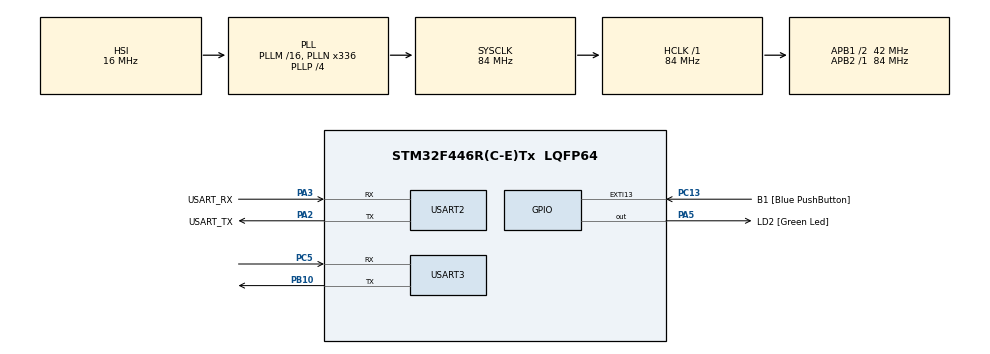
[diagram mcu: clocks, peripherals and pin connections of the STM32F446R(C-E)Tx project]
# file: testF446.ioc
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Mcu.Family=STM32F4
Mcu.Name=STM32F446R(C-E)Tx
Mcu.Package=LQFP64
NVIC.PriorityGroup=NVIC_PRIORITYGROUP_0
NVIC.TIM6_DAC_IRQn=true\:0\:0\:false\:false\:true\:true\:true\:true
NVIC.USART3_IRQn=true\:0\:0\:false\:false\:true\:true\:true\:true
PA13.GPIO_Label=TMS
PA13.Mode=Serial_Wire
PA13.Signal=SYS_JTMS-SWDIO
PA14.GPIO_Label=TCK
PA14.Mode=Serial_Wire
PA14.Signal=SYS_JTCK-SWCLK
PA2.GPIO_Label=USART_TX
PA2.Mode=Asynchronous
PA2.Signal=USART2_TX
PA3.GPIO_Label=USART_RX
PA3.Mode=Asynchronous
PA3.Signal=USART2_RX
PA5.GPIO_Label=LD2 [Green Led]
PA5.Signal=GPIO_Output
PB10.Mode=Asynchronous
PB10.Signal=USART3_TX
PB3.GPIO_Label=SWO
PB3.Signal=SYS_JTDO-SWO
PC13.GPIO_Label=B1 [Blue PushButton]
PC13.GPIO_ModeDefaultEXTI=GPIO_MODE_IT_FALLING
PC13.Signal=GPXTI13
PC14-OSC32_IN.Mode=LSE-External-Oscillator
PC14-OSC32_IN.Signal=RCC_OSC32_IN
PC15-OSC32_OUT.Mode=LSE-External-Oscillator
PC15-OSC32_OUT.Signal=RCC_OSC32_OUT
PC5.Mode=Asynchronous
PC5.Signal=USART3_RX
PH0-OSC_IN.Mode=HSE-External-Oscillator
PH0-OSC_IN.Signal=RCC_OSC_IN
PH1-OSC_OUT.Mode=HSE-External-Oscillator
PH1-OSC_OUT.Signal=RCC_OSC_OUT
ProjectManager.HeapSize=0x200
ProjectManager.StackSize=0x400
ProjectManager.TargetToolchain=STM32CubeIDE
RCC.48MHZClocksFreq_Value=84000000
RCC.AHBFreq_Value=84000000
RCC.APB1CLKDivider=RCC_HCLK_DIV2
RCC.APB1Freq_Value=42000000
RCC.APB1TimFreq_Value=84000000
RCC.APB2Freq_Value=84000000
RCC.APB2TimFreq_Value=84000000
RCC.CortexFreq_Value=84000000
RCC.FLatency-AdvancedSettings=FLASH_LATENCY_2
RCC.HCLKFreq_Value=84000000
RCC.HSE_VALUE=8000000
RCC.HSI_VALUE=16000000
RCC.PLLN=336
RCC.PLLP=RCC_PLLP_DIV4
RCC.SYSCLKFreq_VALUE=84000000
RCC.SYSCLKSource=RCC_SYSCLKSOURCE_PLLCLK
RCC.USBFreq_Value=168000000
RCC.VCOOutputFreq_Value=336000000
TIM6.AutoReloadPreload=TIM_AUTORELOAD_PRELOAD_DISABLE
TIM6.Period=2000-1
TIM6.Prescaler=42000-1
TIM6.TIM_MasterOutputTrigger=TIM_TRGO_RESET
USART2.VirtualMode=VM_ASYNC
USART3.VirtualMode=VM_ASYNC
VP_TIM6_VS_ClockSourceINT.Mode=Enable_Timer
board=NUCLEO-F446RE

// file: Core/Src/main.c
/* USER CODE BEGIN Header */
/**
  ******************************************************************************
  * @file           : main.c
  * @brief          : Main program body
  ******************************************************************************
  * @attention
  *
  * Copyright (c) 2025 STMicroelectronics.
  * All rights reserved.
  *
  * This software is licensed under terms that can be found in the LICENSE file
  * in the root directory of this software component.
  * If no LICENSE file comes with this software, it is provided AS-IS.
  *
  ******************************************************************************
  */
/* USER CODE END Header */
#include "main.h"

/* USER CODE BEGIN Includes */
#include "stm32f4xx_it.h"

#include "uart.h"

/* USER CODE END Includes */

TIM_HandleTypeDef htim6;

UART_HandleTypeDef huart2;
UART_HandleTypeDef huart3;

void SystemClock_Config(void);
static void MX_GPIO_Init(void);
static void MX_USART2_UART_Init(void);
static void MX_TIM6_Init(void);
static void MX_USART3_UART_Init(void);

/* USER CODE BEGIN 0 */
static void led_toggle()
{
  HAL_GPIO_TogglePin(LD2_GPIO_Port,LD2_Pin);
}

/* USER CODE END 0 */

int main(void)
{

  /* MCU Configuration--------------------------------------------------------*/

  /* Reset of all peripherals, Initializes the Flash interface and the Systick. */
  HAL_Init();

  /* Configure the system clock */
  SystemClock_Config();

  /* Initialize all configured peripherals */
  MX_GPIO_Init();
  MX_USART2_UART_Init();
  MX_TIM6_Init();
  MX_USART3_UART_Init();
  /* USER CODE BEGIN 2 */

  const int rcv_buff_size = 16;
  uint8_t rcv_buff[rcv_buff_size];

  uart_init(&huart3);  // UART3の初期化
  uart_receive_start();  // 受信開始

  /* USER CODE END 2 */

  /* Infinite loop */
  while (1)
  {

    /* USER CODE BEGIN 3 */
    if (isTimHit()) {  // 定間隔処理
      led_toggle();  // LEDをトグル

      //uart_transimit_nonblocking((uint8_t *)"#", 1);  // Beacon 送信

    }

    if (uart_is_received()) {  // UART受信チェック
      // 受信データを取得して送信
      uint16_t size;
      size = uart_get_receive_data(rcv_buff, rcv_buff_size);
      uart_transmit_nonblocking(rcv_buff, size);
    }

  }
  /* USER CODE END 3 */
}

void SystemClock_Config(void)
{
  RCC_OscInitTypeDef RCC_OscInitStruct = {0};
  RCC_ClkInitTypeDef RCC_ClkInitStruct = {0};

  /** Configure the main internal regulator output voltage
  */
  __HAL_RCC_PWR_CLK_ENABLE();
  __HAL_PWR_VOLTAGESCALING_CONFIG(PWR_REGULATOR_VOLTAGE_SCALE3);

  /** Initializes the RCC Oscillators according to the specified parameters
  * in the RCC_OscInitTypeDef structure.
  */
  RCC_OscInitStruct.OscillatorType = RCC_OSCILLATORTYPE_HSI;
  RCC_OscInitStruct.HSIState = RCC_HSI_ON;
  RCC_OscInitStruct.HSICalibrationValue = RCC_HSICALIBRATION_DEFAULT;
  RCC_OscInitStruct.PLL.PLLState = RCC_PLL_ON;
  RCC_OscInitStruct.PLL.PLLSource = RCC_PLLSOURCE_HSI;
  RCC_OscInitStruct.PLL.PLLM = 16;
  RCC_OscInitStruct.PLL.PLLN = 336;
  RCC_OscInitStruct.PLL.PLLP = RCC_PLLP_DIV4;
  RCC_OscInitStruct.PLL.PLLQ = 2;
  RCC_OscInitStruct.PLL.PLLR = 2;
  if (HAL_RCC_OscConfig(&RCC_OscInitStruct) != HAL_OK)
  {
    Error_Handler();
  }

  /** Initializes the CPU, AHB and APB buses clocks
  */
  RCC_ClkInitStruct.ClockType = RCC_CLOCKTYPE_HCLK|RCC_CLOCKTYPE_SYSCLK
                              |RCC_CLOCKTYPE_PCLK1|RCC_CLOCKTYPE_PCLK2;
  RCC_ClkInitStruct.SYSCLKSource = RCC_SYSCLKSOURCE_PLLCLK;
  RCC_ClkInitStruct.AHBCLKDivider = RCC_SYSCLK_DIV1;
  RCC_ClkInitStruct.APB1CLKDivider = RCC_HCLK_DIV2;
  RCC_ClkInitStruct.APB2CLKDivider = RCC_HCLK_DIV1;

  if (HAL_RCC_ClockConfig(&RCC_ClkInitStruct, FLASH_LATENCY_2) != HAL_OK)
  {
    Error_Handler();
  }
}

static void MX_TIM6_Init(void)
{

  TIM_MasterConfigTypeDef sMasterConfig = {0};

  htim6.Instance = TIM6;
  htim6.Init.Prescaler = 42000-1;
  htim6.Init.CounterMode = TIM_COUNTERMODE_UP;
  htim6.Init.Period = 2000-1;
  htim6.Init.AutoReloadPreload = TIM_AUTORELOAD_PRELOAD_DISABLE;
  if (HAL_TIM_Base_Init(&htim6) != HAL_OK)
  {
    Error_Handler();
  }
  sMasterConfig.MasterOutputTrigger = TIM_TRGO_RESET;
  sMasterConfig.MasterSlaveMode = TIM_MASTERSLAVEMODE_DISABLE;
  if (HAL_TIMEx_MasterConfigSynchronization(&htim6, &sMasterConfig) != HAL_OK)
  {
    Error_Handler();
  }
  /* USER CODE BEGIN TIM6_Init 2 */
  HAL_TIM_Base_Start_IT(&htim6);
  /* USER CODE END TIM6_Init 2 */

}

static void MX_USART2_UART_Init(void)
{

  huart2.Instance = USART2;
  huart2.Init.BaudRate = 115200;
  huart2.Init.WordLength = UART_WORDLENGTH_8B;
  huart2.Init.StopBits = UART_STOPBITS_1;
  huart2.Init.Parity = UART_PARITY_NONE;
  huart2.Init.Mode = UART_MODE_TX_RX;
  huart2.Init.HwFlowCtl = UART_HWCONTROL_NONE;
  huart2.Init.OverSampling = UART_OVERSAMPLING_16;
  if (HAL_UART_Init(&huart2) != HAL_OK)
  {
    Error_Handler();
  }

}

static void MX_USART3_UART_Init(void)
{

  huart3.Instance = USART3;
  huart3.Init.BaudRate = 115200;
  huart3.Init.WordLength = UART_WORDLENGTH_8B;
  huart3.Init.StopBits = UART_STOPBITS_1;
  huart3.Init.Parity = UART_PARITY_NONE;
  huart3.Init.Mode = UART_MODE_TX_RX;
  huart3.Init.HwFlowCtl = UART_HWCONTROL_NONE;
  huart3.Init.OverSampling = UART_OVERSAMPLING_16;
  if (HAL_UART_Init(&huart3) != HAL_OK)
  {
    Error_Handler();
  }

}

static void MX_GPIO_Init(void)
{
  GPIO_InitTypeDef GPIO_InitStruct = {0};

  /* GPIO Ports Clock Enable */
  __HAL_RCC_GPIOC_CLK_ENABLE();
  __HAL_RCC_GPIOH_CLK_ENABLE();
  __HAL_RCC_GPIOA_CLK_ENABLE();
  __HAL_RCC_GPIOB_CLK_ENABLE();

  /*Configure GPIO pin Output Level */
  HAL_GPIO_WritePin(LD2_GPIO_Port, LD2_Pin, GPIO_PIN_RESET);

  /*Configure GPIO pin : B1_Pin */
  GPIO_InitStruct.Pin = B1_Pin;
  GPIO_InitStruct.Mode = GPIO_MODE_IT_FALLING;
  GPIO_InitStruct.Pull = GPIO_NOPULL;
  HAL_GPIO_Init(B1_GPIO_Port, &GPIO_InitStruct);

  /*Configure GPIO pin : LD2_Pin */
  GPIO_InitStruct.Pin = LD2_Pin;
  GPIO_InitStruct.Mode = GPIO_MODE_OUTPUT_PP;
  GPIO_InitStruct.Pull = GPIO_NOPULL;
  GPIO_InitStruct.Speed = GPIO_SPEED_FREQ_LOW;
  HAL_GPIO_Init(LD2_GPIO_Port, &GPIO_InitStruct);

}

void Error_Handler(void)
{
  /* USER CODE BEGIN Error_Handler_Debug */
  /* User can add his own implementation to report the HAL error return state */
  __disable_irq();
  while (1)
  {
    if (isTimHit()) {
      HAL_GPIO_TogglePin(LD2_GPIO_Port,LD2_Pin);
    }
  }
  /* USER CODE END Error_Handler_Debug */
}
